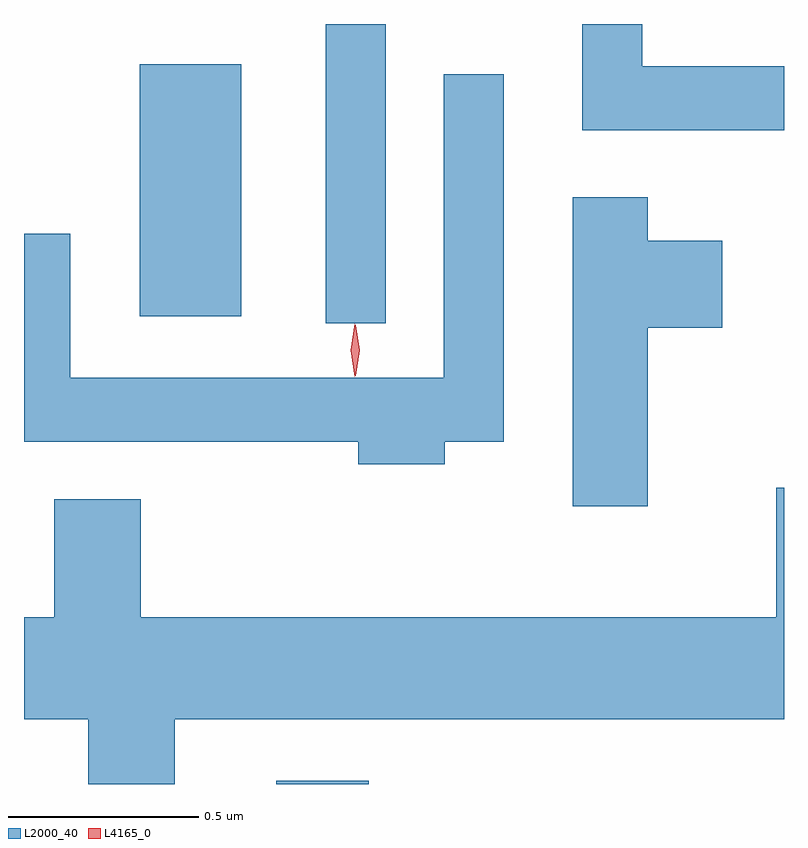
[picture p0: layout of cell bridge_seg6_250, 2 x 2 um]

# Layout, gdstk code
import gdstk
lib = gdstk.Library(unit=1e-6, precision=1e-09)
def R(c, l, rs):  # rectangles x0, y0, x1, y1
    for r in rs: c.add(gdstk.rectangle(r[:2], r[2:], *l))
def P(c, l, *ps):  # polygons
    for p in ps: c.add(gdstk.Polygon(p, *l))
L2000_40 = (2000, 40)
L4165_0 = (4165, 0)

bridge_seg6_250 = lib.new_cell('bridge_seg6_250')
R(bridge_seg6_250, L2000_40, [(1138.776,1547.645,1139.019,1547.654), (1138.906,1548.858,1139.064,1549.645), (1138.416,1548.876,1138.684,1549.539)])
P(bridge_seg6_250, L2000_40, [(1140.112,1549.534),(1139.739,1549.534),(1139.739,1549.645),(1139.581,1549.645),(1139.581,1549.366),(1140.112,1549.366)],
  [(1139.219,1548.546),(1139.374,1548.546),(1139.374,1549.513),(1139.216,1549.513),(1139.216,1548.714),(1138.234,1548.714),(1138.234,1549.093),(1138.112,1549.093),(1138.112,1548.546),(1138.991,1548.546),(1138.991,1548.486),(1139.219,1548.486)],
  [(1139.754,1548.846),(1139.949,1548.846),(1139.949,1549.074),(1139.754,1549.074),(1139.754,1549.189),(1139.556,1549.189),(1139.556,1548.376),(1139.754,1548.376)],
  [(1138.509,1547.816),(1140.112,1547.816),(1140.112,1548.424),(1140.091,1548.424),(1140.091,1548.084),(1138.419,1548.084),(1138.419,1548.394),(1138.191,1548.394),(1138.191,1548.084),(1138.112,1548.084),(1138.112,1547.816),(1138.281,1547.816),(1138.281,1547.645),(1138.509,1547.645)])
P(bridge_seg6_250, L4165_0, [(1138.985,1548.719),(1138.984,1548.72),(1138.975,1548.786),(1138.984,1548.852),(1138.985,1548.853),(1138.985,1548.852),(1138.995,1548.786),(1138.985,1548.72)],
  [(1138.982,1548.717),(1138.982,1548.717),(1138.972,1548.787),(1138.982,1548.856),(1138.982,1548.856),(1138.983,1548.856),(1138.992,1548.787),(1138.983,1548.717)])

lib.write_gds('bridge_seg6_250.gds')
